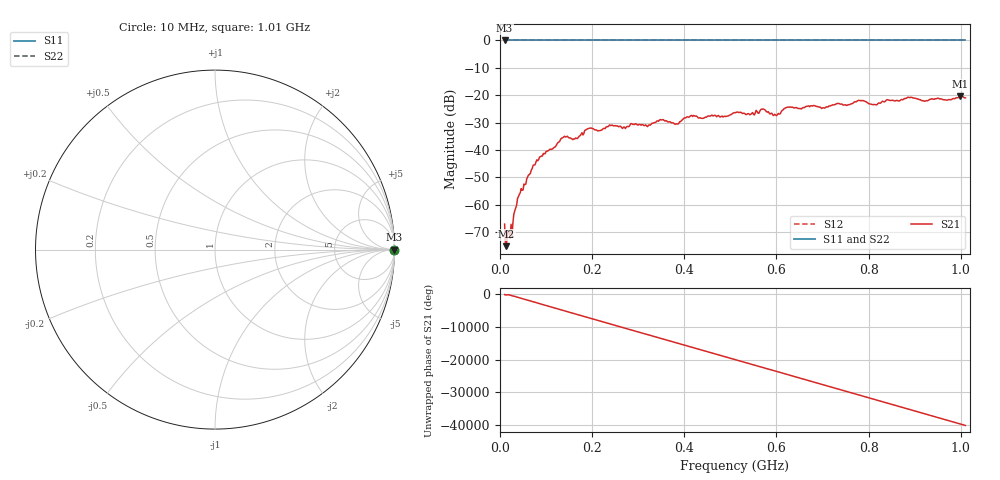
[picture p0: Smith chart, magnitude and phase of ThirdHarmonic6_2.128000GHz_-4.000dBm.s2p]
! 8/17/2025 1:25:47 AM
! C:\ANRITSUVNA\TEMP\TEMP.S2P
! CHANNEL.1
! TR.MEASUREMENT
! RAW.DATA
! RF.CORRECTION.OFF
! AVERAGING.OFF
! IF.BANDWIDTH: 5KHZ
! SWEEPTYPE:  FREQ.SWEEP(Linear)
! Reference Plane Port Info
! PORT:  PORT1  PORT2
! DISTANCE:  0  m  0  m
! TIME:  0  s  0  s
! PHASE.OFFSET:  0  deg.  0  deg.
! LOSS:  0  dB  0  dB
! REF.LOSS:  0  dB  0  dB
! REF.FREQ:  0  Hz  0  Hz
! Power Info
! POWER:  -20  dBm  -20  dBm
! EFF.POWER:  -20  dBm  -20  dBm
! SOURCE.ATTEN:  0  dB  0  dB
! TEST.ATTEN:  0  dB  0  dB
# GHZ S RI R 50.0
! FREQ.GHZ  S11RE  S11IM  S21RE  S21IM  S12RE  S12IM  S22RE  S22IM
!; PortSelection: Port_12
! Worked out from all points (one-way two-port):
!   501 points, 10 MHz to 1.01 GHz, reference 50 ohm
!   highest |S21| = -20.40 dB at 998 MHz (marker M1); lowest = -75.2 dB at 14 MHz (marker M2)
!   lowest |S11| = 0.0 dB at 10 MHz (marker M3)
!   |S11| at or under -10 dB: nowhere
!   |S22| runs from 0.0 to 0.0 dB; largest |S21 - S12| = 1.1
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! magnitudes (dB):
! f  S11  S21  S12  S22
! 10 MHz  0.0  -67.1  0.0  0.0
! 14 MHz  0.0  -75.2  0.0  0.0
! 24 MHz  0.0  -67.2  0.0  0.0
! 42 MHz  0.0  -56.3  0.0  0.0
! 76 MHz  0.0  -45.5  0.0  0.0
! 136 MHz  0.0  -35.6  0.0  0.0
! 178 MHz  0.0  -33.7  0.0  0.0
! 194 MHz  0.0  -32.1  0.0  0.0
! 322 MHz  0.0  -31.1  0.0  0.0
! 344 MHz  0.0  -29.5  0.0  0.0
! 384 MHz  0.0  -30.5  0.0  0.0
! 416 MHz  0.0  -27.4  0.0  0.0
! 510 MHz  0.0  -26.4  0.0  0.0
! 570 MHz  0.0  -25.1  0.0  0.0
! 598 MHz  0.0  -27.2  0.0  0.0
! 624 MHz  0.0  -24.4  0.0  0.0
! 678 MHz  0.0  -24.0  0.0  0.0
! 782 MHz  0.0  -22.0  0.0  0.0
! 814 MHz  0.0  -23.5  0.0  0.0
! 844 MHz  0.0  -21.9  0.0  0.0
! 998 MHz  0.0  -20.4  0.0  0.0
! 1.01 GHz  0.0  -21.0  0.0  0.0
